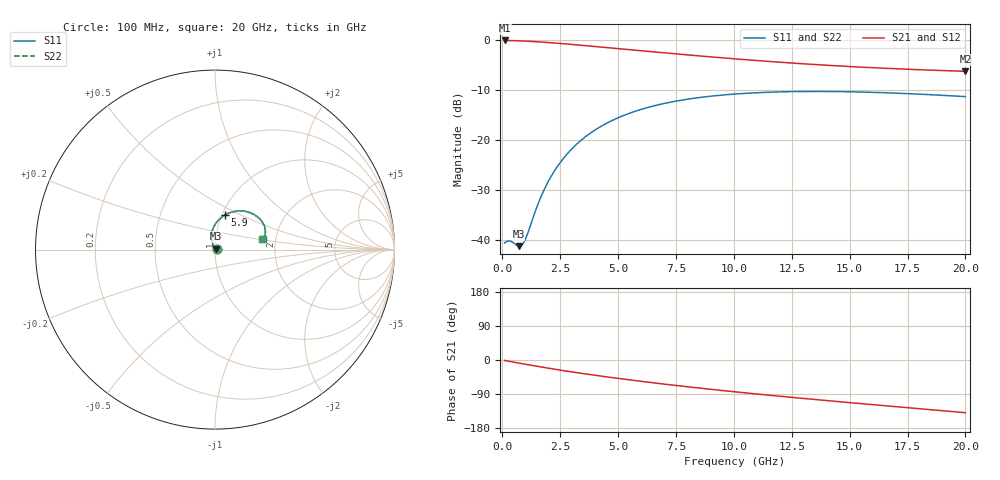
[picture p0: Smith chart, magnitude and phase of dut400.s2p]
! Touchstone file exported from HFSS 2024.1.0
!  File:  C:/UserFiles/LocalFiles/RDL_TSV_Batchsim/temp_RDL_TSV_400_1779711187.aedt
!  Generated:  08:28:19 PM May 25, 2026
!  Design:  RDL_TSV
!  Project:  temp_RDL_TSV_400_1779711187
!  Setup:  Setup1
!  Solution:  Sweep
! Variables:
!  dtsv = 6.39um
!  hbump = 3um
!  htsv = 69.46um
!  ldown = 417.35um
!  lrdl = 174.11um
!  p = 40
!  p1 = 42.28um
!  rhole = 10um
!  subl = 1948.49um
!  t = 450um
!  tdown = 4.41um
!  trdl = 4.18um
!  viad = 10um
!  wdown = 19.05um
!  wrdl = 26.76um
!  xbump = 18um
# GHz S MA R 50.000000
! Terminal data exported
! Port[1] = TM1_1_T1
! Port[2] = TM1_4_T1
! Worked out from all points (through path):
!   200 points, 100 MHz to 20 GHz, reference 50 ohm
!   highest |S21| = -0.08 dB at 100 MHz (marker M1); lowest = -6.3 dB at 20 GHz (marker M2)
!   group delay of S21, straight-line fit = 18.4 ps
!   lowest |S11| = -41.3 dB at 700 MHz (marker M3), VSWR 1.02, Z = 50.6 + j0.604 ohm
!   |S11| at or under -10 dB: start of sweep to end of sweep
!   |S22| runs from -41.3 to -10.3 dB; largest |S21 - S12| = 1.4e-14
!   S11 on the Smith chart (normalised r, x): 100 MHz: 1.02, +0.00; 5.9 GHz: 1.03, +0.41; 20 GHz: 1.70, +0.22
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0.1  0.009296 7.7  0.9905 -1.2  0.9905 -1.2  0.009296 7.7
! Gamma 0 0 0 0
! Port Impedance 50 0 50 0
0.3  0.009752 17.0  0.9886 -3.5  0.9886 -3.5  0.009753 17.0
0.7  0.008626 43.8  0.9826 -7.9  0.9826 -7.9  0.00863 43.7
0.8  0.008658 55.1  0.9807 -9.1  0.9807 -9.1  0.008662 55.0
0.9  0.009127 67.1  0.9785 -10.2  0.9785 -10.2  0.009129 67.0
1  0.01012 78.4  0.9762 -11.3  0.9762 -11.3  0.01011 78.3
1.6  0.02461 109.2  0.9585 -17.7  0.9585 -17.7  0.02458 109.1
1.9  0.0351 111.4  0.9478 -20.8  0.9478 -20.8  0.03506 111.3
2.2  0.0468 110.8  0.9364 -23.8  0.9364 -23.8  0.04674 110.8
2.5  0.05932 108.9  0.9244 -26.7  0.9244 -26.7  0.05924 108.8
2.8  0.07235 106.2  0.912 -29.5  0.912 -29.5  0.07225 106.2
3.5  0.1035 99.0  0.8826 -35.9  0.8826 -35.9  0.1034 98.9
4  0.1255 93.5  0.8616 -40.3  0.8616 -40.3  0.1253 93.5
4.6  0.1507 87.2  0.8368 -45.3  0.8368 -45.3  0.1505 87.1
5.9  0.1989 74.5  0.7853 -55.6  0.7853 -55.6  0.1986 74.4
6.8  0.2264 66.7  0.7517 -62.2  0.7517 -62.2  0.226 66.7
8.3  0.2617 55.4  0.7003 -72.7  0.7003 -72.7  0.2612 55.4
10.1  0.2886 44.2  0.6465 -84.3  0.6465 -84.3  0.288 44.1
11.7  0.3012 35.9  0.6061 -94.0  0.6061 -94.0  0.3006 35.8
13.4  0.3057 28.6  0.5705 -103.7  0.5705 -103.7  0.3049 28.5
16.7  0.2957 18.2  0.5193 -121.6  0.5193 -121.6  0.2949 18.1
20  0.2715 12.6  0.4862 -139.1  0.4862 -139.1  0.2705 12.5
